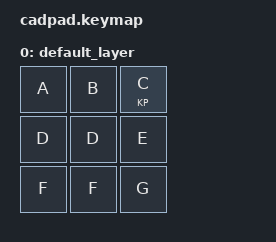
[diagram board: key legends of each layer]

#include <behaviors.dtsi>
#include <dt-bindings/zmk/keys.h>
#include <dt-bindings/zmk/bt.h>

/ {
    keymap0: keymap {
        compatible = "zmk,keymap";

        default_layer {          
          bindings = <
                &kp A &kp B &KP C
                &kp D &kp D &kp E
                &kp F &kp F &kp G
 
 
 //               &kp ESC   &kp F1    &kp F2   &kp F3    &kp F4    &kp F5 &kp F6 &kp F7 &kp F8 &kp F9 &kp F10 &kp F11 &kp F12
 //               &kp KP_MINUS &kp KP_ASTERISK &kp KP_DIVIDE &kp KP_NLCK &kp GRAVE  &kp N1 &kp N2 &kp N3 &kp N4 &kp N5 &kp N6  &kp N7  &kp N8  &kp N9 &kp N0 &kp MINUS &kp EQUAL &kp BPSC &kp INS &kp HOME &kp PG_UP
 //               &kp KP_PLUS  &kp KP_N7    &kp KP_N8   &kp KP_N9    &kp TAB   &kp Q  &kp W  &kp E  &kp R  &kp T  &kp Y   &kp U   &kp I   &kp O  &kp P  &kp LBKT  &kp RBKT  &kp BSLH &kp DEL &kp END  &kp PG_DN
 //               &kp KP_N4    &kp KP_N5    &kp KP_N6   &kp CLCK  &kp A     &kp S  &kp D  &kp F  &kp G  &kp H  &kp J   &kp K   &kp L   &kp SEMI      &kp SQT   &kp ENTER
 //              &kp ENTER   &kp KP_N1    &kp KP_N2   &kp KP_N3  &kp LSHFT  &kp Z  &kp X  &kp C  &kp V  &kp B  &kp N  &kp M  &kp COMMA  &kp DOT  &kp FSLH  &kp RSHFT  &kp UP
//              &kp KP_DOT   &kp KP_N0    &kp LCTRL  &kp LGUI  &kp LALT  &kp SPACE  &kp RALT  &kp RGUI  &kp RGUI  &kp RCTRL  &kp LEFT  &kp DOWN  &kp RIGHT
            >;
        };
    };
 };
